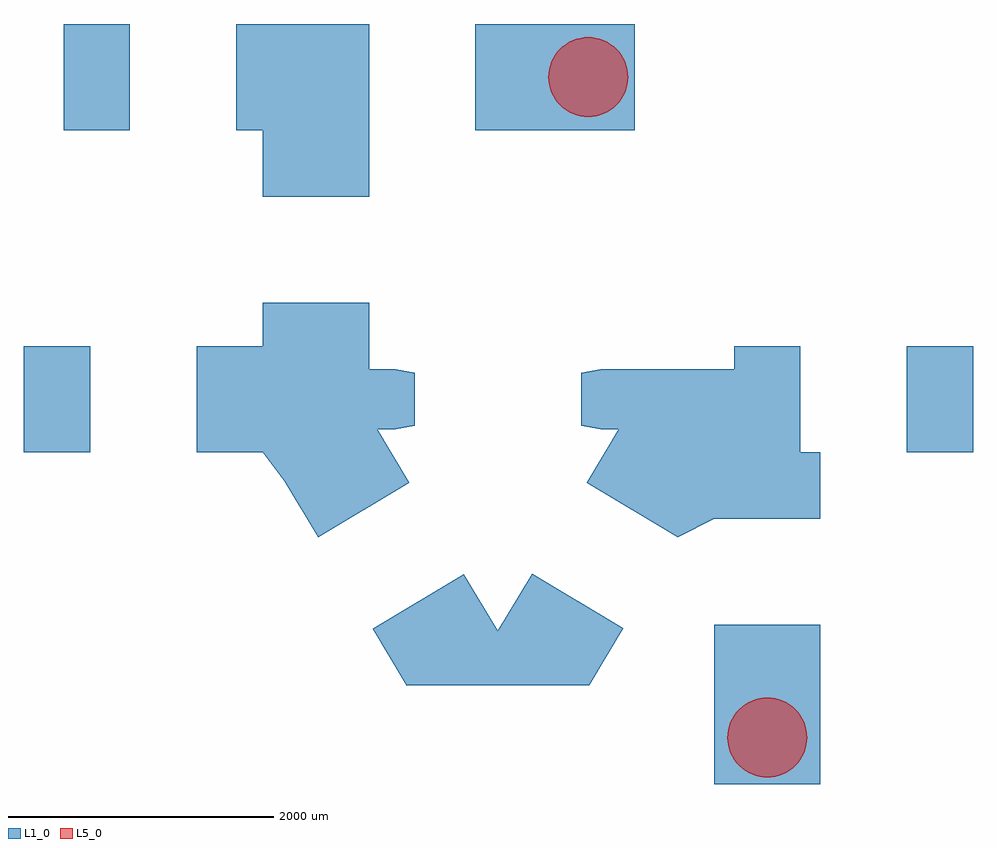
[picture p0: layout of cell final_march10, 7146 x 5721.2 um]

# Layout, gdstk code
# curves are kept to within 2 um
import gdstk
lib = gdstk.Library(unit=1e-6, precision=1e-07)
def R(c, l, rs):  # rectangles x0, y0, x1, y1
    for r in rs: c.add(gdstk.rectangle(r[:2], r[2:], *l))
def P(c, l, *ps):  # polygons
    for p in ps: c.add(gdstk.Polygon(p, *l))
L1_0 = (1, 0)
L5_0 = (5, 0)

final_march10 = lib.new_cell('final_march10')
R(final_march10, L1_0, [(591,14.7,1391,714.7), (591,711.9,1391,1211.9), (591,2011.9,1391,2511.9), (-4605.4,2510.9,-4105.4,3310.9), (-3305.4,2510.9,-2805.4,3310.9), (740.6,2511.9,1240.6,3311.9), (2040.6,2511.9,2540.6,3311.9), (-2805.4,2685.9,-1804.5,3135.9), (-261.2,2686.9,740.6,3136.9), (-1961.2,2711.9,-1661.2,3111.9), (-411.2,2711.9,-111.2,3111.9), (-2806.8,3135.9,-2006.8,3635.9), (-2806.8,4435.9,-2006.8,4935.9), (-4306.8,4935.9,-3806.8,5735.9), (-3006.8,4935.9,-2506.8,5735.9), (-2506.8,4935.9,-2006.8,5735.9), (-1206.8,4935.9,-706.8,5735.9), (-706.8,4935.9,-6.8,5735.9)])
P(final_march10, L1_0, [(740.6,2686.9),(740.6,2511.9),(591,2511.9),(591,2011.9),(317.4,1872.9),(575.9,2302.4),(249.5,2686.9)],
  [(-2805.4,2510.9),(-2805.4,2685.9),(-2320.5,2685.9),(-2646.5,2299.3)],
  [(-411.2,2711.9),(-261.2,2711.9),(-261.2,2686.9)],
  [(-1804.5,3135.9),(-1661.2,3111.9),(-1804.5,3111.9)],
  [(-1804.5,2685.9),(-1661.2,2711.9),(-1804.5,2711.9)],
  [(-411.2,3111.9),(-261.2,3136.9),(-261.2,3111.9)],
  [(-1723,753.9),(-351,758.9),(-1038.1,1168.4)],
  [(-111.2,3111.9),(575.9,2302.4),(-111.2,2711.9)],
  [(-368.6,2283.9),(-111.2,2711.9),(575.9,2302.4),(317.4,1872.9)],
  [(-1038.1,1168.4),(-779.6,1597.9),(-93.6,1186.9),(-351,758.9)],
  [(-1723,753.9),(-1979.7,1184.4),(-1293.6,1595.3),(-1037.7,1166.5)],
  [(-2390.6,1870.5),(-2646.5,2299.3),(-1961.2,2711.9),(-1704.5,2281.4)],
  [(-1961.2,3111.9),(-2646.5,2299.3),(-1961.2,2711.9)])
P(final_march10, L5_0, [(-56.8,5335.9),(-62.6,5394.4),(-79.6,5450.7),(-107.4,5502.6),(-144.7,5548),(-190.1,5585.3),(-242,5613.1),(-298.3,5630.1),(-356.8,5635.9),(-415.3,5630.1),(-471.6,5613.1),(-523.5,5585.3),(-568.9,5548),(-606.2,5502.6),(-634,5450.7),(-651,5394.4),(-656.8,5335.9),(-651,5277.4),(-634,5221.1),(-606.2,5169.2),(-568.9,5123.8),(-523.5,5086.5),(-471.6,5058.7),(-415.3,5041.7),(-356.8,5035.9),(-298.3,5041.7),(-242,5058.7),(-190.1,5086.5),(-144.7,5123.8),(-107.4,5169.2),(-79.6,5221.1),(-62.6,5277.4)],
  [(1291,364.7),(1285.2,423.2),(1268.2,479.5),(1240.4,531.4),(1203.1,576.8),(1157.7,614.1),(1105.8,641.9),(1049.5,658.9),(991,664.7),(932.5,658.9),(876.2,641.9),(824.3,614.1),(778.9,576.8),(741.6,531.4),(713.8,479.5),(696.8,423.2),(691,364.7),(696.8,306.2),(713.8,249.9),(741.6,198),(778.9,152.6),(824.3,115.3),(876.2,87.5),(932.5,70.5),(991,64.7),(1049.5,70.5),(1105.8,87.5),(1157.7,115.3),(1203.1,152.6),(1240.4,198),(1268.2,249.9),(1285.2,306.2)])

lib.write_gds('final_march10.gds')
